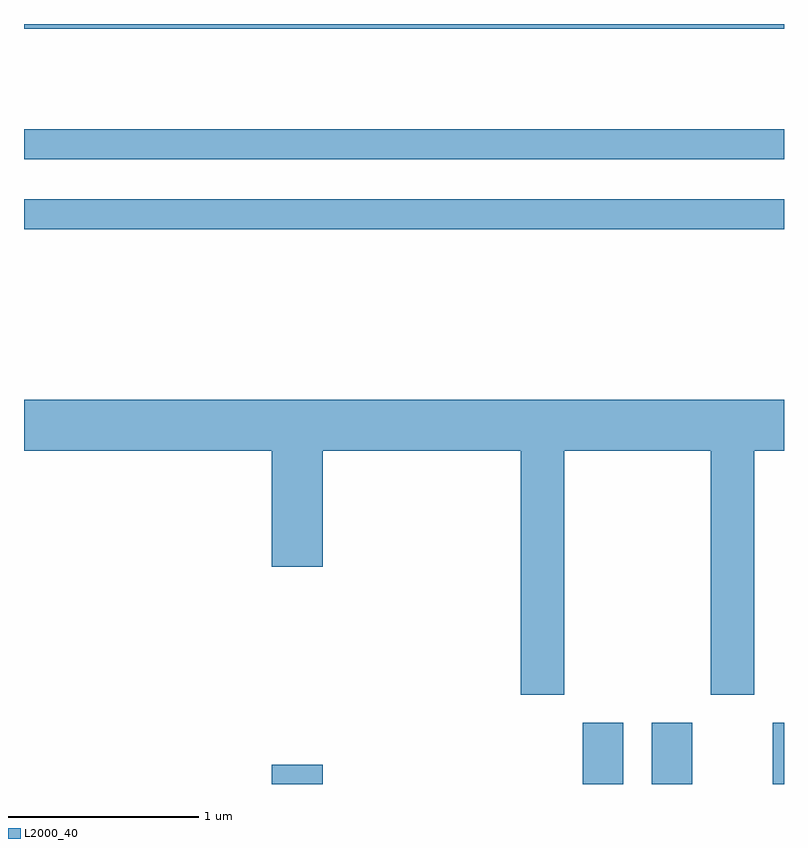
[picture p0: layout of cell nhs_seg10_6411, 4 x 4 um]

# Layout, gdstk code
import gdstk
lib = gdstk.Library(unit=1e-6, precision=1e-09)
def R(c, l, rs):  # rectangles x0, y0, x1, y1
    for r in rs: c.add(gdstk.rectangle(r[:2], r[2:], *l))
def P(c, l, *ps):  # polygons
    for p in ps: c.add(gdstk.Polygon(p, *l))
L2000_40 = (2000, 40)

nhs_seg10_6411 = lib.new_cell('nhs_seg10_6411')
R(nhs_seg10_6411, L2000_40, [(374.916,2196.522,375.184,2196.624), (376.551,2196.522,376.764,2196.844), (376.916,2196.522,377.129,2196.844), (377.551,2196.522,377.611,2196.844), (373.611,2199.441,377.611,2199.599), (373.611,2199.811,377.611,2199.969), (373.611,2200.496,377.611,2200.522)])
P(nhs_seg10_6411, L2000_40, [(376.454,2198.276),(377.226,2198.276),(377.226,2196.991),(377.454,2196.991),(377.454,2198.276),(377.611,2198.276),(377.611,2198.544),(373.611,2198.544),(373.611,2198.276),(374.916,2198.276),(374.916,2197.666),(375.184,2197.666),(375.184,2198.276),(376.226,2198.276),(376.226,2196.991),(376.454,2196.991)])

lib.write_gds('nhs_seg10_6411.gds')
